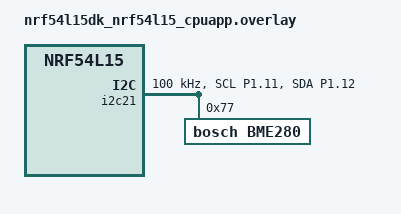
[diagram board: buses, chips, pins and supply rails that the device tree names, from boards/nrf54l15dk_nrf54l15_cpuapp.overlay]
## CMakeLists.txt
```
cmake_minimum_required(VERSION 3.20.0)
find_package(Zephyr REQUIRED HINTS $ENV{ZEPHYR_BASE})
project(Lunt)

target_include_directories(app PRIVATE src)

target_sources(app PRIVATE 
src/main.c
src/sensor_task.c
src/conversions.c
src/dfu_confirm.c
)
# Only compiled when the BLE overlay is used (CONFIG_APP_BLE=y)
target_sources_ifdef(CONFIG_APP_BLE app PRIVATE src/ble_ess.c)
```

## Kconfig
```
# Application Kconfig: our own build-time options. they appear in 
# menuconfig/guiconfig and can be set in prj.conf, an overlay .conf file
# or on the command line with -DCONFIG_<NAME>=<VALUE>

menu "LuntNode application"

config APP_SAMPLE_INTERVAL_SEC
    int "Seconds between sensor readings"
    default 10
    range 1 3600
    help
      The sensor thread sleeps this long between readings. Presssing 
      Button 0 triggers an immediate reading.

config APP_FAIL_SELFTEST
    bool "Deliberately fail the boot self-test (rollback demo)"
    help
      Build a version with this on, upload it as a TEST image, and watch 
      MCUboot revert to the previous version because the new image never 
      confirms itself.

config APP_BLE
	bool "Expose readings over the Bluetooth LE Environmental Sensing Service"
	depends on BT_PERIPHERAL
	help
	  Enabled by overlay-ble.conf.
    
config APP_SELFTEST_REBOOT_DELAY_SEC
    int "Seconds to wait before rebooting after a failed self-test"
    default 5
    help
      Only used when the running image is a test image that MCUboot will 
      revert on the next reboot.

# Creates CONFIG_APP_LOG_LEVEL and APP_LOG_LEVEL_{OFF,ERR,WRN,INF,DBG}
module = APP
module-str = LuntNode application
source "subsys/logging/Kconfig.template.log_config"

endmenu

source "Kconfig.zephyr"
```

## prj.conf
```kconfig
# Logging. Our modules use CONFIG_APP_LOG_LEVEL from the Kconfig template;
# it defaults to the global level (Info).
CONFIG_LOG=y

#Drivers
CONFIG_GPIO=y
CONFIG_I2C=y
CONFIG_SENSOR=y

# Deevice power management lets us put the BME280 to sleep between readings
CONFIG_PM_DEVICE=y

# Needed for sys_reboot() after a failed self-test on a test image
CONFIG_REBOOT=y
```

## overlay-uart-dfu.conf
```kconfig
# DFU over UART from the running application (MCUmgr / SMP protocol).
# Use together with uart-dfu.overlay, which moves MCUmgr to the second 
# virtual COM port so log output on the first port does not interference.

CONFIG_MCUMGR=y
CONFIG_UART_MCUMGR=y
CONFIG_MCUMGR_TRANSPORT_UART=y

# Command groups: OS (reset, echo) and Image (list, upload, test, confirm)
CONFIG_MCUMGR_GRP_OS=y
CONFIG_MCUMGR_GRP_IMG=y

# Dependencies of MCUMgr
CONFIG_NET_BUF=y
CONFIG_ZCBOR=y
CONFIG_CRC=y
CONFIG_BASE64=y

# Image management: writes the uploaded image into slot 1
CONFIG_FLASH=y
CONFIG_FLASH_MAP=y
CONFIG_STREAM_FLASH=y
CONFIG_IMG_MANAGER=y
```

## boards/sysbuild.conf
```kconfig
# Sysbuild builds more than one image. Here: MCUBoot + this application.
# The application is signed automatically (build/envnode/zephyr/zephyr.signed.bin)
# using the version in the VERSION file.
SB_CONFIG_BOOTLOADER_MCUBOOT=y
```

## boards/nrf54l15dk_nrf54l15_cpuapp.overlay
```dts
/*
 * Board overlay for nRF54L15 DK (applied automatically for board target nrf54l15dk/nrf54l15/cpuapp).

 * Adds a BOSCH BME280 on I2C instance i2c21:

 * SCL -> P1.11
 * SDA -> P1.12
 * VCC -> VDDIO (Set VDD to 3.3 V in Board Configurator first)
 * GND -> GND

 * I2C address: 0x77 if the sensor's SDO pin is high (Adafruit, Waveshare),
 * 0x76 if SDO is low (many generic purple GY-BME280 boards).
 */

&pinctrl {
	i2c21_default: i2c21_default {
		group1 {
			psels = <NRF_PSEL(TWIM_SCL,1,11)>,
				<NRF_PSEL(TWIM_SDA,1,12)>;
		};
	};

	i2c21_sleep: i2c21_sleep {
		group1 {
			psels = <NRF_PSEL(TWIM_SCL,1,11)>,
				<NRF_PSEL(TWIM_SDA,1,12)>;
			low-power-enable;
		};
	};
};

&i2c21 {
	status = "okay";
	clock-frequency = <I2C_BITRATE_STANDARD>;
	pinctrl-0 = <&i2c21_default>;
	pinctrl-1 = <&i2c21_sleep>;
	pinctrl-names = "default", "sleep";

	bme280: bme280@77 {
		compatible = "bosch,bme280";
		reg = <0x77>;
		status = "okay";
	};
};

/ {
	aliases {
		/* The application finds the sensor through this alias */
		luntsensor = &bme280;
	};
};
```

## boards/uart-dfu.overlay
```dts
/*
Route MCUmgr (SMP) to UART30, which the DK's debugger exposes as the second virtual COM port. Logs stay on UART20 (first COM port).

Pass with : -DEXTRA_DTC_OVERLAY_FILE=uart-dfu.overlay
(It is added on top of boards/nrf54l15dk_nrf54l15_cpuapp.overlay)
*/

/ {
	chosen {
		zephyr,uart-mcumgr = &uart30;
	};
};

&uart30 {
	status = "okay";
	current-speed = <115200>;
	pinctrl-0 = <&uart30_default>;
	pinctrl-1 = <&uart30_sleep>;
	pinctrl-names = "default", "sleep"
};
```

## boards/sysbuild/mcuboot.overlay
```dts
/*
Devicetree overlay for the MCUBoot image only.
MCUBoot must run from the root partition, not from slot 0 where the application lives.
(Recent nRF Connect SDK versions use devicetree partitioning, so this is set explicitly.)
*/
/ {
	chosen {
		zephyr,code-partition = &boot_partition;
	};
};
```

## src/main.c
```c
/* LuntNode main: boot sequence and the consumer side of the data flow:
Button 0 ISR --sem--> sensor thread --msgq--> main thread --> log, LED

Boot sequece:
1.) Log version and MCUboot image state
2.) Self-test the sensor
3.) Pass -> confirm the image so MCUboot keeps it
	Fail on a test image -> reboot, MCUboot reverts to the old image
	Fail on a confirmed image -> keep running and keep retrying
4.) Start the BLE (if built in), button, sensor thread
*/

#include <zephyr/kernel.h>
#include <zephyr/device.h>
#include <zephyr/devicetree.h>
#include <zephyr/drivers/gpio.h>
#include <zephyr/drivers/sensor.h>
#include <zephyr/logging/log.h>
#include <zephyr/sys/reboot.h>
#include <app_version.h>

#include "app_types.h"
#include "conversions.h"
#include "dfu_confirm.h"
#include "sensor_task.h"
#if defined(CONFIG_APP_BLE)
#include "ble_ess.h"
#endif

LOG_MODULE_REGISTER(Lunt, CONFIG_APP_LOG_LEVEL);

static const struct gpio_dt_spec led = GPIO_DT_SPEC_GET(DT_ALIAS(led0), gpios);
static const struct gpio_dt_spec button = GPIO_DT_SPEC_GET(DT_ALIAS(sw0), gpios);
static struct gpio_callback button_cb;

static void led_off_handler(struct k_work *work)
{
	ARG_UNUSED(work);
	gpio_pin_set_dt(&led, 0);
}
static K_WORK_DELAYABLE_DEFINE(led_off_work, led_off_handler);

static void led_blink(void)
{
	if (led.port == NULL) {
		if (led.port == NULL) {
			return;
		}
		gpio_pin_set_dt(&led, 1);
		k_work_reschedule(&led_off_work, K_MSEC(50));
	}
}

static void button_isr(const struct device *dev, struct gpio_callback *cb, uint32_t pins)
{
	ARG_UNUSED(dev);
	ARG_UNUSED(cb);
	ARG_UNUSED(pins);
	sensor_task_trigger();
}

static void io_init(void)
{
	if (led.port && gpio_is_ready_dt(&led)) {
		gpio_pin_configure_dt(&led, GPIO_OUTPUT_INACTIVE);
	}

	if (button.port && gpio_is_ready_dt(&button)) {
		gpio_pin_configure_dt(&button, GPIO_INPUT);
		gpio_pin_interrupt_configure_dt(&button, GPIO_INT_EDGE_TO_ACTIVE);
		gpio_init_callback(&button_cb, button_isr, BIT(button.pin));
		gpio_add_callback(button.port, &button_cb);
		LOG_INF("Press Button 0 for an immediate reading");
	}
}

static void boot_selftest_and_confirm(void)
{
	dfu_log_state();

	if (sensor_selftest()) {

		if (sensor_selftest()) {
			(void)dfu_confirm_image();
			return;
		}

		if (dfu_revert_pending()) {
			LOG_ERR("Self-test FAILED on a test image. Not confirming.");
			LOG_ERR("Rebooting in %d s;MCUboot will restore the previous image.",
				CONFIG_APP_SELFTEST_REBOOT_DELAY_SEC);
			k_sleep(K_SECONDS(CONFIG_APP_SELFTEST_REBOOT_DELAY_SEC));
			sys_reboot(SYS_REBOOT_COLD);
		}
		/*
		Confirmed (or debugger-flashed) image with nothing to revert to:
		rebooting would only loop. Run degraded and keep trying.
		LOG_ERR("Self-test FAILED. No previous image to revert to; running degraded.");
		*/
	}
}

static void log_sample(const struct lunt_sample *s)
{
	char t[16], h[16], p[16];

	format_centi(t, sizeof(t), s->temp_centi_c);
	format_centi(h, sizeof(h), s->hum_centi_pct);
	/*deci-Pa / 10 = centi-hPa, printed as hPA with 2 decimals*/
	format_centi(p, sizeof(p), s->press_deci_pa / 10);

	LOG_INF("T=%s C RH=%s %% P=%s hPa", t, h, p);
}

int main(void)
{
	LOG_INF("Lunt: v%s booting on %s", APP_VERSION_STRING, CONFIG_BOARD_TARGET);

	io_init();
	boot_selftest_and_confirm();

#if defined(CONFIG_APP_BLE)
	(void)ble_ess_init();
#endif

	sensor_task_start();

	while (true) {
		struct lunt_sample s;

		k_msgq_get(&sample_msgq, &s, K_FOREVER);
		log_sample(&s);
		led_blink();

#if defined(CONFIG_APP_BLE)
		ble_ess_update(&s);
#endif
	}
	return 0;
}
```

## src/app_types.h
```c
/*
Shared data types. One reading of the environment, in fixed point integers so we never need floating
point on the device
*/

#ifndef APP_TYPES_H_
#define APP_TYPES_H_
#include <stdint.h>

struct lunt_sample {
	int32_t temp_centi_c;  /* 0.01 degC (2345 = 23.45 degC)*/
	int32_t hum_centi_pct; /* 0.01 %RH (4512 = 45.12 %)*/
	int32_t press_deci_pa; /* 0.1 Pa (1013250 = 1013.25 hPa)*/
	int64_t uptime_ms;     /* when the reading was taken */
};
#endif /*APP_TYPES_H_*/
```

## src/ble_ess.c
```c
/*
 Bluetooth LE peripheral exposing the standard Environmental Sensing
 Service (ESS, 0x181A) with Temperature, Humidity and Pressure.
 Any generic BLE app (nRF Connect for Mobile) decodes these.

 The MCUmgr SMP service for firmware updates is added automatically by
 CONFIG_NCS_SAMPLE_MCUMGR_BT_OTA_DFU; we only need to advertise.

 - Static GATT service definition, read callbacks, notifications (CCC)
 - Advertising data vs scan response
 - Restarting advertising after a disconnect (the "recycled" callback)
 - Protecting data shared between threads with a spinlock
 */

#include <string.h>
#include <zephyr/kernel.h>
#include <zephyr/bluettoth/bluetooth.h>
#include <zephyr/bluetooth/conn.h>
#include <zephyr/bluetooth/gatt.h>
#include <zephyr/bluetooth/uuid.h>
#include <zephyr/logging/log.h>
#include <zephyr/sys/byteorder.h>

#include "ble_ess.h"

LOG_MODULE_REGISTER(ble_ess, CONFIG_APP_LOG_LEVEL);

/*
 ESS value formats (Bluetooth GATT Specification Supplement):
 Temperature 0x2A6E: sint16, 0.01 degC
 Humidity    0x2A6F: uint16, 0.01 %
 Pressure    0x2A6D: uint32, 0.1 Pa
 Stored little-endian, ready to send.
*/

static struct {
	int16_t temp_le;
	uint16_t hum_le;
	uint32_t press_le;
} values;

static struct k_spinlock values_lock;

static ssize_t read_value(struct bt_conn *conn, const struct bt_gatt_attr *attr, void *buf,
			  uint16_t len, uint16_t offset)
{
	/* user_data points at the field to return; copy it under the lock
	 * because the main thread may be updating it right now. */
	uint8_t tmp[4];
	size_t size = (attr->user_data == &values.press_le) ? 4 : 2;
	k_spinlock_key_t key = k_spin_lock(&values_lock);

	memcpy(tmp, attr->user_data, size);
	k_spin_unlock(&values_lock, key);

	return bt_gatt_attr_read(conn, attr, buf, len, offset, tmp, size);
}

static void ccc_changed(const struct bt_gatt_attr *attr, uint16_t value)
{
	ARG_UNUSED(attr);
	LOG_INF("Notifications %s", value == BT_GATT_CCC_NOTIFY ? "enabled" : "disabled");
}

/* Attribute table. Index:
 * 0 service | 1 temp decl | 2 temp value | 3 temp CCC
 * 4 hum decl | 5 hum value | 6 hum CCC | 7 press decl | 8 press value | 9 press CCC */
BT_GATT_SERVICE_DEFINE(
	ess_svc, BT_GATT_PRIMARY_SERVICE(BT_UUID_ESS),

	BT_GATT_CHARACTERISTIC(BT_UUID_TEMPERATURE, BT_GATT_CHRC_READ | BT_GATT_CHRC_NOTIFY,
			       BT_GATT_PERM_READ, read_value, NULL, &values.temp_le),
	BT_GATT_CCC(ccc_changed, BT_GATT_PERM_READ | BT_GATT_PERM_WRITE),

	BT_GATT_CHARACTERISTIC(BT_UUID_HUMIDITY, BT_GATT_CHRC_READ | BT_GATT_CHRC_NOTIFY,
			       BT_GATT_PERM_READ, read_value, NULL, &values.hum_le),
	BT_GATT_CCC(ccc_changed, BT_GATT_PERM_READ | BT_GATT_PERM_WRITE),

	BT_GATT_CHARACTERISTIC(BT_UUID_PRESSURE, BT_GATT_CHRC_READ | BT_GATT_CHRC_NOTIFY,
			       BT_GATT_PERM_READ, read_value, NULL, &values.press_le),
	BT_GATT_CCC(ccc_changed, BT_GATT_PERM_READ | BT_GATT_PERM_WRITE), );

#define ATTR_TEMP  (&ess_svc.attrs[2])
#define ATTR_HUM   (&ess_svc.attrs[5])
#define ATTR_PRESS (&ess_svc.attrs[8])

/* Advertising packet: flags + "I offer ESS". Name goes in the scan response. */
static const struct bt_data ad[] = {
	BT_DATA_BYTES(BT_DATA_FLAGS, (BT_LE_AD_GENERAL | BT_LE_AD_NO_BREDR)),
	BT_DATA_BYTES(BT_DATA_UUID16_ALL, BT_UUID_16_ENCODE(BT_UUID_ESS_VAL)),
};

static const struct bt_data sd[] = {
	BT_DATA(BT_DATA_NAME_COMPLETE, CONFIG_BT_DEVICE_NAME, sizeof(CONFIG_BT_DEVICE_NAME) - 1),
};

static int advertise(void)
{
	int err;

	/* About 100-150 ms between advertising events: quick to find. */
	err = bt_le_adv_start(BT_LE_ADV_CONN_FAST_1, ad, ARRAY_SIZE(ad), sd, ARRAY_SIZE(sd));
	if (err == -EALREADY) {
		return 0;
	}
	if (err) {
		LOG_ERR("Advertising failed to start (%d)", err);
	} else {
		LOG_INF("Advertising as \"%s\"", CONFIG_BT_DEVICE_NAME);
	}
	return err;
}

/* Advertising cannot restart inside the disconnected callback, because the
 * connection object is not free yet. "recycled" fires once it is. We hop to
 * the system workqueue rather than doing work inside the BT callback. */
static void adv_work_handler(struct k_work *work)
{
	ARG_UNUSED(work);
	(void)advertise();
}
static K_WORK_DEFINE(adv_work, adv_work_handler);

static void connected(struct bt_conn *conn, uint8_t err)
{
	char addr[BT_ADDR_LE_STR_LEN];

	bt_addr_le_to_str(bt_conn_get_dst(conn), addr, sizeof(addr));
	if (err) {
		LOG_WRN("Connection to %s failed (0x%02x)", addr, err);
		return;
	}
	LOG_INF("Connected: %s", addr);
}

static void disconnected(struct bt_conn *conn, uint8_t reason)
{
	ARG_UNUSED(conn);
	LOG_INF("Disconnected (reason 0x%02x)", reason);
}

static void recycled(void)
{
	k_work_submit(&adv_work);
}

BT_CONN_CB_DEFINE(conn_callbacks) = {
	.connected = connected,
	.disconnected = disconnected,
	.recycled = recycled,
};

int ble_ess_init(void)
{
	int err = bt_enable(NULL);

	if (err) {
		LOG_ERR("Bluetooth init failed (%d)", err);
		return err;
	}

	return advertise();
}

void ble_ess_update(const struct env_sample *s)
{
	int16_t t = sys_cpu_to_le16((int16_t)s->temp_centi_c);
	uint16_t h = sys_cpu_to_le16((uint16_t)s->hum_centi_pct);
	uint32_t p = sys_cpu_to_le32((uint32_t)s->press_deci_pa);
	k_spinlock_key_t key = k_spin_lock(&values_lock);

	values.temp_le = t;
	values.hum_le = h;
	values.press_le = p;
	k_spin_unlock(&values_lock, key);

	/* NULL conn = notify every subscribed connection. Returns an error
	 * when nobody is connected or subscribed; that is normal. */
	(void)bt_gatt_notify(NULL, ATTR_TEMP, &t, sizeof(t));
	(void)bt_gatt_notify(NULL, ATTR_HUM, &h, sizeof(h));
	(void)bt_gatt_notify(NULL, ATTR_PRESS, &p, sizeof(p));
}
```

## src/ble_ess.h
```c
#ifndef BLE_ESS_H_
#define BLE_ESS_H_

#include "app_types.h"

/* Enable bluetooth and start advertising */
int ble_ess_init(void);

/* Update the charcterstic values and notify subscribed phones. */
void ble_Ess_update(const struct lunt_sample *s);

#endif /*BLE_ESS_H_*/
```

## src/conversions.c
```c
#include <stdio.h>

#include "conversions.h"

int32_t sv_to_centi(int32_t val1, int32_t val2)
{
	/*val2 is in millionths: divide by 10000 to get hundreths. */
	return (val1 * 100) + (val2 / 10000);
}

int32_t kpa_sv_to_deci_pa(int32_t val1, int32_t val2)
{
	/*1 kPa  =10000 deci-Pa; val2 is millionts of a kPa = 0.01 deci-Pa.*/
	return (val1 * 10000) + (val2 / 100);
}

int format_centi(char *buf, size_t len, int32_t centi)
{
	const char *sign = (centi < 0) ? "-" : "";
	uint32_t abs_val = (centi < 0) ? (uint32_t)(-(int64_t)centi) : (uint32_t)centi;

	return snprintf(buf, len, "%s%u.%02u", sign, (unsigned int)(abs_val / 100U),
			(unsigned int)(abs_val % 100U));
}

bool lunt_values_plausible(int32_t temp_centi_c, int32_t hum_centi_pct, int32_t press_deci_pa)
{
	/*BME280 operating range: -40..85 degC, 0..100 %RH, 300..1100 hPa*/

	if (temp_centi_c < -4000 || temp_centi_c > 8500) {
		return false;
	}
	if (hum_centi_pct < 0 || hum_centi_pct > 10000) {
		return false;
	}
	if (press_deci_pa < 300000 || press_deci_pa > 1100000) {
		return false;
	}
	return true;
}
```

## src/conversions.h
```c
/*
Conversions helpers with no zephyr dependencies, so they can be unit-tested on their own.

Zephyr's sensor API returns values as tow integers:
val1 = integer part, val2 = millionths (same sigh as val1)
Ex: 23.45 -> val1 = 23, val2 = 4500000
    -0.5 -> val1 = 0, val2 = -500000
*/

#ifndef CONVERSIONS_H_
#define CONVERSIONS_H_

#include <stdbool.h>
#include <stddef.h>
#include <stdint.h>

/*Temperature (degC) or humidity (%) to hundreths. */
int32_t sv_to_centi(int32_t val1, int32_t val2);

/* Pressure in kPa (as the BME280 driver reports it) to tenths of a pascal. */
int32_t kpa_sv_to_deci_pa(int32_t val1, int32_t val2);

/* Format hundredths as text: 2345 -> "23.45", -5 -> "-0.05". Returns snprintf result. */
int format_centi(char *buf, size_t len, int32_t centi);

/* Sanity check against the BME280's operating range. */
bool lunt_values_plausible(int32_t temp_centi_c, int32_t hum_centi_pct, int32_t press_deci_pa);
#endif /*CONVESIONS_H_*/
```

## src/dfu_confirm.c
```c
/*
The "confirm after self-test" pattern.

With MCUboot in a swap mode, a new image uploaded as TEST run once.
If the application does not confirm it before the next reboot, MCUboot
swaps the old image back. So the application decides whether the update
is healthy: we confirm only after the sensor self-test passes.

Image management (and these APIs) only exist when a DFU overlay is used,
so everything is guarded by CONFIG_MCUBOOT_IMG_MANAGER.

*/

#include <zephyr/kernel.h>
#include <zephyr/logging/log.h>

#if defined(CONFIG_MCUBOOT_IMG_MANAGER)
#include <zephyr/dfu/mcuboot.h>
#endif

#include "dfu_confirm.h"

LOG_MODULE_REGISTER(dfu_confirm, CONFIG_APP_LOG_LEVEL);

#if defined(CONFIG_MCUBOOT_IMG_MANAGER)
static const char *swap_type_str(int type)
{
	switch (type) {
	case BOOT_SWAP_TYPE_NONE:
		return "none (running a confirmed image)";
	case BOOT_SWAP_TYPE_TEST:
		return "test (a test image will run on next reboot)";
	case BOOT_SWAP_TYPE_PERM:
		return "perm (an image will be made permanent on next reboot)";
	case BOOT_SWAP_TYPE_REVERT:
		return "revert (THIS image is on trial and will be reverted unless confirmed)";
	case BOOT_SWAP_TYPE_FAIL:
		return "fail";
	default:
		return "unknown";
	}
}
#endif

bool dfu_revert_pending(void)
{
#if defined(CONFIG_MCUBOOT_IMG_MANAGER)
	return mcuboot_swap_type() == BOOT_SWAP_TYPE_REVERT;
#else
	return false;
#endif
}

int dfu_confirm_image(void)
{
#if defined(CONFIG_MCUBOOT_IMG_MANAGER)
	if (boot_is_img_confirmed()) {
		LOG_INF("Image already confirmed");
		return 0;
	}

	int rc = boot_write_img_confirmed();

	if (rc) {
		LOG_ERR("Confirming image failed (%d)", rc);
	} else {
		LOG_INF("Self-test passed: image CONFIRMED, it will be kept");
	}
	return rc;
#else
	LOG_INF("No image manager in this build (no DFU overlay): nothing to confirm");
	return 0;
#endif
}

void dfu_log_state(void)
{
#if defined(CONFIG_MCUBOOT_IMG_MANAGER)
	LOG_INF("Image confirmed: %s, swap type: %s", boot_is_img_confirmed() ? "yes" : "no",
		swap_type_str(mcuboot_swap_type()));
#endif
}
```

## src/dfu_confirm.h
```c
#ifndef DFU_CONFIRM_H_
#define DFU_CONFIRM_H_

#include <stdbool.h>

/* True if this image is running as a TEST image: MCUboot will swap back to
the orevious image on the next reboot unless we confirm. */
bool dfu_revert_pending(void);

/* Mark the running image as good, so MCUboot keeps it permanently. */
int dfu_confirm_image(void);

/* Log the bootloader's view of the running image. */
void dfu_log_state(void);

#endif /* DFU_CONFIRM_H_*/
```

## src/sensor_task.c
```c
/*
Add Device Power management (sensor_power()).

Sensor thread: wakes every CONFIG_APP_SAMPLE_INTERVAL_SEC seconds, or immediately when the button is
pressed, reads th eBME280 and publishes an lunt_sample to a message queue.

*/

#include <errno.h>
#include <zephyr/kernel.h>
#include <zephyr/device.h>
#include <zephyr/devicetree.h>
#include <zephyr/drivers/sensor.h>
#include <zephyr/logging/log.h>
#include <zephyr/pm/device.h>

#include "conversions.h"
#include "sensor_task.h"

LOG_MODULE_REGISTER(sensor_task, CONFIG_APP_LOG_LEVEL);

#define SENSOR_NODE DT_ALIAS(luntsensor)

#if !DT_NODE_HAS_STATUS_OKAY(SENSOR_NODE)
#error "No 'luntsensor' alias with status okay. Check boards/*.overlay"
#endif

static const struct device *const lunt_dev = DEVICE_DT_GET(SENSOR_NODE);

/* Queue of 8 samples. If the consumer falls behind, we drop the oldest. */
K_MSGQ_DEFINE(sample_msgq, sizeof(struct lunt_sample), 8, 4);

/* Binary semaphore used as a "measure now" doorbell from the button ISR. */
static K_SEM_DEFINE(measure_now_sem, 0, 1);

static int sensor_power(enum pm_device_action action)
{
#if defined(CONFIG_PM_DEVICE)
	int rc = pm_device_action_run(lunt_dev, action);

	/* -EALREADY: already in that state, which is fine. */
	if (rc == -EALREADY || rc == -ENOSYS || rc == -ENOTSUP) {
		return 0;
	}
	return rc;
#else
	ARG_UNUSED(action);
	return 0;
#endif
}

static int sensor_read_once(struct lunt_sample *out)
{
	struct sensor_value temp, hum, press;
	int rc;

	rc = sensor_power(PM_DEVICE_ACTION_RESUME);
	if (rc) {
		LOG_WRN("Resume failed (%d)", rc);
	}

	rc = sensor_sample_fetch(lunt_dev);
	if (rc == 0) {
		rc = sensor_channel_get(lunt_dev, SENSOR_CHAN_AMBIENT_TEMP, &temp);
	}
	if (rc == 0) {
		rc = sensor_channel_get(lunt_dev, SENSOR_CHAN_HUMIDITY, &hum);
	}

	/* Put the sensor back to sleep whatever happened. */
	(void)sensor_power(PM_DEVICE_ACTION_SUSPEND);

	if (rc) {
		LOG_ERR("Sensor read failed (%d)", rc);
		return rc;
	}
	out->temp_centi_c = sv_to_centi(temp.val1, temp.val2);
	out->hum_centi_pct = sv_to_centi(hum.val1, hum.val2);
	out->press_deci_pa = kpa_sv_to_deci_pa(press.val1, press.val2);
	out->uptime_ms = k_uptime_get();

	LOG_DBG("raw temp %d.%06d, hum %d.%06d, press %d.%06d kPa", temp.val1, temp.val2, hum.val1,
		hum.val2, press.val1, press.val2);
	return 0;
}

bool sensor_selftest(void)
{
	struct lunt_sample s;

	if (IS_ENABLED(CONFIG_APP_FAIL_SELFTEST)) {
		LOG_WRN("CONFIG_APP_FAIL_SELFTEST=y: failing self-test on purpose");
		return false;
	}

	if (!device_is_ready(lunt_dev)) {
		LOG_ERR("Sensor %s not ready (writing, VDD or I2C address?)", lunt_dev->name);
		return false;
	}

	if (sensor_read_once(&s) != 0) {
		return false;
	}

	if (!lunt_values_plausible(s.temp_centi_c, s.hum_centi_pct, s.press_deci_pa)) {
		LOG_ERR("Implausible reading: %d cC, %d c%%, %dPa", s.temp_centi_c, s.hum_centi_pct,
			s.press_deci_pa);
		return false;
	}
	return true;
}

void sensor_task_trigger(void)
{
	/* k_sem_give is ISR-safe. Never read the sensor from the ISR itself:
	   I2C transfers block and must run in the thread context */
	k_sem_give(&measure_now_sem);
}

static void publish(const struct lunt_sample *s)
{
	while (k_msgq_put(&sample_msgq, s, K_NO_WAIT) != 0) {
		struct lunt_sample dropped;

		/* Queue full: drop the oldest so the newest reading alöways gets in.*/
		(void)k_msgq_get(&sample_msgq, &dropped, K_NO_WAIT);
		LOG_WRN("Sample queue full, dropped oldest");
	}
}

static void sensor_thread(void *p1, void *p2, void *p3)
{
	ARG_UNUSED(p1);
	ARG_UNUSED(p2);
	ARG_UNUSED(p3);

	LOG_INF("Sensor thread started, interval %d s", CONFIG_APP_SAMPLE_INTERVAL_SEC);

	while (true) {
		struct lunt_sample s;

		if (device_is_ready(lunt_dev) && sensor_read_once(&s) == 0) {
			publish(&s);
		}

		/* Sleep until the interval passes OR the button is pressed.
		   While every thread is blocked like this, the kernel idles and
		   the SoC can drop into its low-power state. */
		(void)k_sem_take(&measure_now_sem, K_SECONDS(CONFIG_APP_SAMPLE_INTERVAL_SEC));
	}
}

/* Created at boot but not started (delay = SYS_FOREVER_MS):
   main() starts it once everything else is initialised. Priority 7 (preemptible).
*/

K_THREAD_DEFINE(sensor_tid, 1536, sensor_thread, NULL, NULL, NULL, 7, 0, SYS_FOREVER_MS);

void sensor_task_start(void)
{
	k_thread_start(sensor_tid);
}
```

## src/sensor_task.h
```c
#ifndef SENSOR_TASK_H
#define SENSOR_TASK_H

#include <zephyr/kernel.h>

#include "app_types.h"

/* Readings are published here; main() is the consumer */
extern struct k_msgq sample_msgq;

/* Check the sensor is present ang gives palusible values. USed at boot to decide
whether a newly updated image is healthy enough to confirm. */
bool sensor_selftest(void);

/* Start the periodic sensor thread (it is created but not started at boot) */
void sensor_task_start(void);

/* Ask for an immediate reading. Sage to call from an interrupt handler.*/
void sensor_task_trigger(void);

#endif /* SENSOR_TASK_H_ */
```
